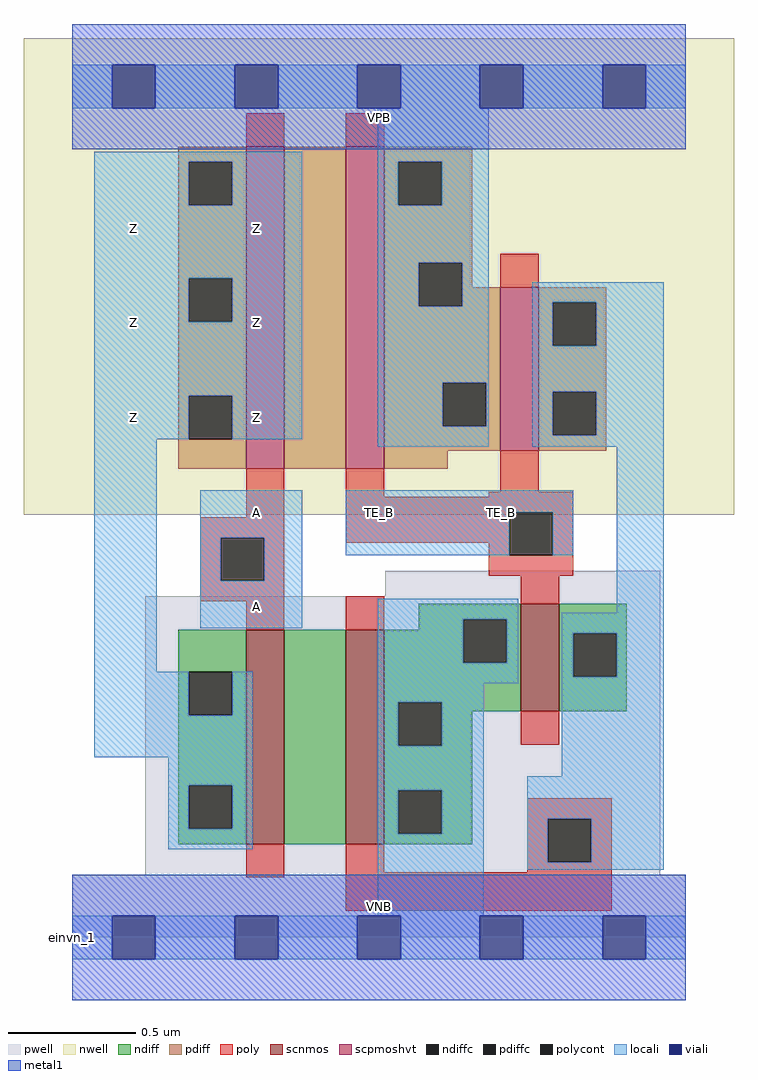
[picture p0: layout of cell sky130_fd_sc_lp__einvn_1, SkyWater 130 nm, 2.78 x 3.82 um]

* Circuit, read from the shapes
.subckt sky130_fd_sc_lp__einvn_1 A TE_B VGND VNB VPB VPWR Z
XM1 n1 A Z VNB sky130_fd_pr__nfet_01v8 w=0.84 l=0.15
XM2 VGND n2 n1 VNB sky130_fd_pr__nfet_01v8 w=0.84 l=0.15
XM3 n2 TE_B VGND VNB sky130_fd_pr__nfet_01v8 w=0.42 l=0.15
XM4 n3 A Z VPB sky130_fd_pr__pfet_01v8_hvt w=1.26 l=0.15
XM5 VPWR TE_B n3 VPB sky130_fd_pr__pfet_01v8_hvt w=1.26 l=0.15
XM6 n2 TE_B VPWR VPB sky130_fd_pr__pfet_01v8_hvt w=0.64 l=0.15
.ends

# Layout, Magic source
magic
tech sky130A
magscale 1 2
<< nwell >>
rect -38 331 518 704
<< pwell >>
rect 245 267 460 287
rect 57 49 460 267
rect 0 0 480 49
<< scnmos >>
rect 136 73 166 241
rect 214 73 244 241
rect 351 177 381 261
<< scpmoshvt >>
rect 136 367 166 619
rect 214 367 244 619
rect 335 381 365 509
<< ndiff >>
rect 271 249 351 261
rect 271 241 306 249
rect 83 208 136 241
rect 83 174 91 208
rect 125 174 136 208
rect 83 119 136 174
rect 83 85 91 119
rect 125 85 136 119
rect 83 73 136 85
rect 166 73 214 241
rect 244 215 306 241
rect 340 215 351 249
rect 244 184 351 215
rect 244 150 255 184
rect 289 177 351 184
rect 381 238 434 261
rect 381 204 392 238
rect 426 204 434 238
rect 381 177 434 204
rect 289 150 313 177
rect 244 115 313 150
rect 244 81 255 115
rect 289 81 313 115
rect 244 73 313 81
<< pdiff >>
rect 83 607 136 619
rect 83 573 91 607
rect 125 573 136 607
rect 83 516 136 573
rect 83 482 91 516
rect 125 482 136 516
rect 83 424 136 482
rect 83 390 91 424
rect 125 390 136 424
rect 83 367 136 390
rect 166 367 214 619
rect 244 607 313 619
rect 244 573 255 607
rect 289 573 313 607
rect 244 528 313 573
rect 244 494 271 528
rect 305 509 313 528
rect 305 494 335 509
rect 244 434 335 494
rect 244 400 290 434
rect 324 400 335 434
rect 244 381 335 400
rect 365 497 418 509
rect 365 463 376 497
rect 410 463 418 497
rect 365 427 418 463
rect 365 393 376 427
rect 410 393 418 427
rect 365 381 418 393
rect 244 367 294 381
<< ndiffc >>
rect 91 174 125 208
rect 91 85 125 119
rect 306 215 340 249
rect 255 150 289 184
rect 392 204 426 238
rect 255 81 289 115
<< pdiffc >>
rect 91 573 125 607
rect 91 482 125 516
rect 91 390 125 424
rect 255 573 289 607
rect 271 494 305 528
rect 290 400 324 434
rect 376 463 410 497
rect 376 393 410 427
<< poly >>
rect 136 619 166 645
rect 214 619 244 645
rect 335 509 365 535
rect 136 329 166 367
rect 100 313 166 329
rect 100 279 116 313
rect 150 279 166 313
rect 214 345 244 367
rect 335 349 365 381
rect 326 345 392 349
rect 214 333 392 345
rect 214 309 342 333
rect 326 299 342 309
rect 376 299 392 333
rect 326 283 392 299
rect 100 263 166 279
rect 136 241 166 263
rect 214 241 244 267
rect 351 261 381 283
rect 351 151 381 177
rect 356 93 422 109
rect 136 47 166 73
rect 214 51 244 73
rect 356 59 372 93
rect 406 59 422 93
rect 356 51 422 59
rect 214 21 422 51
<< polycont >>
rect 116 279 150 313
rect 342 299 376 333
rect 372 59 406 93
<< locali >>
rect 0 649 31 683
rect 65 649 127 683
rect 161 649 223 683
rect 257 649 319 683
rect 353 649 415 683
rect 449 649 480 683
rect 17 607 180 615
rect 17 573 91 607
rect 125 573 180 607
rect 17 516 180 573
rect 17 482 91 516
rect 125 482 180 516
rect 17 424 180 482
rect 17 390 91 424
rect 125 390 180 424
rect 239 607 326 649
rect 239 573 255 607
rect 289 573 326 607
rect 239 528 326 573
rect 239 494 271 528
rect 305 494 326 528
rect 239 434 326 494
rect 239 400 290 434
rect 324 400 326 434
rect 17 208 66 390
rect 239 384 326 400
rect 360 497 463 513
rect 360 463 376 497
rect 410 463 463 497
rect 360 427 463 463
rect 360 393 376 427
rect 410 393 463 427
rect 360 384 463 393
rect 100 313 180 350
rect 100 279 116 313
rect 150 279 180 313
rect 214 333 392 350
rect 214 299 342 333
rect 376 299 392 333
rect 100 242 180 279
rect 239 249 349 265
rect 426 254 463 384
rect 239 215 306 249
rect 340 215 349 249
rect 17 174 91 208
rect 125 174 141 208
rect 17 141 141 174
rect 75 119 141 141
rect 75 85 91 119
rect 125 85 141 119
rect 75 69 141 85
rect 239 199 349 215
rect 383 238 463 254
rect 383 204 392 238
rect 426 204 463 238
rect 239 184 322 199
rect 239 150 255 184
rect 289 150 322 184
rect 239 115 322 150
rect 383 126 463 204
rect 239 81 255 115
rect 289 81 322 115
rect 239 17 322 81
rect 356 93 463 126
rect 356 59 372 93
rect 406 59 463 93
rect 356 53 463 59
rect 0 -17 31 17
rect 65 -17 127 17
rect 161 -17 223 17
rect 257 -17 319 17
rect 353 -17 415 17
rect 449 -17 480 17
<< viali >>
rect 31 649 65 683
rect 127 649 161 683
rect 223 649 257 683
rect 319 649 353 683
rect 415 649 449 683
rect 31 -17 65 17
rect 127 -17 161 17
rect 223 -17 257 17
rect 319 -17 353 17
rect 415 -17 449 17
<< metal1 >>
rect 0 683 480 715
rect 0 649 31 683
rect 65 649 127 683
rect 161 649 223 683
rect 257 649 319 683
rect 353 649 415 683
rect 449 649 480 683
rect 0 617 480 649
rect 0 17 480 49
rect 0 -17 31 17
rect 65 -17 127 17
rect 161 -17 223 17
rect 257 -17 319 17
rect 353 -17 415 17
rect 449 -17 480 17
rect 0 -49 480 -17
<< labels >>
flabel pwell s 0 0 480 49 0 FreeSans 200 0 0 0 VNB
port 4 nsew ground bidirectional
flabel nwell s 0 617 480 666 0 FreeSans 200 0 0 0 VPB
port 5 nsew power bidirectional
rlabel comment s 0 0 0 0 4 einvn_1
flabel metal1 s 0 617 480 666 0 FreeSans 340 0 0 0 VPWR
port 6 nsew power bidirectional
flabel metal1 s 0 0 480 49 0 FreeSans 340 0 0 0 VGND
port 3 nsew ground bidirectional
flabel locali s 319 316 353 350 0 FreeSans 340 0 0 0 TE_B
port 2 nsew signal input
flabel locali s 31 390 65 424 0 FreeSans 340 0 0 0 Z
port 7 nsew signal output
flabel locali s 127 390 161 424 0 FreeSans 340 0 0 0 Z
port 7 nsew signal output
flabel locali s 31 464 65 498 0 FreeSans 340 0 0 0 Z
port 7 nsew signal output
flabel locali s 31 538 65 572 0 FreeSans 340 0 0 0 Z
port 7 nsew signal output
flabel locali s 127 242 161 276 0 FreeSans 340 0 0 0 A
port 1 nsew signal input
flabel locali s 127 316 161 350 0 FreeSans 340 0 0 0 A
port 1 nsew signal input
flabel locali s 223 316 257 350 0 FreeSans 340 0 0 0 TE_B
port 2 nsew signal input
flabel locali s 127 464 161 498 0 FreeSans 340 0 0 0 Z
port 7 nsew signal output
flabel locali s 127 538 161 572 0 FreeSans 340 0 0 0 Z
port 7 nsew signal output
<< properties >>
string LEFsite unit
string LEFclass CORE
string FIXED_BBOX 0 0 480 666
string GDS_FILE $PDKPATH/libs.ref/sky130_fd_sc_lp/gds/sky130_fd_sc_lp.gds
string LEFsymmetry X Y R90
string GDS_END 4002536
string GDS_START 3997050
<< end >>
